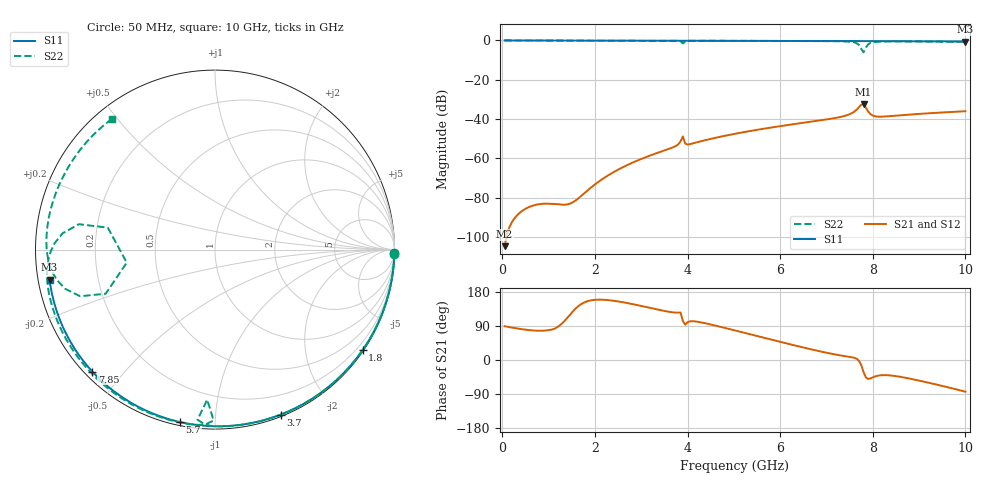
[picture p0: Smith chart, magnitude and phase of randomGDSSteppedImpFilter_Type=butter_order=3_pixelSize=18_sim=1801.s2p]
! freq	dB(S11)	phase(S11)	dB(S12)	phase(S12)
!  dB(S21)	phase(S21)	dB(S22)	phase(S22)
!S-par simulation data
#  GHz  S  DB  R 50
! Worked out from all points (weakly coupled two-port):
!   200 points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, 50 MHz to 10 GHz, reference 50 ohm
!   highest |S21| = -32.58 dB at 7.8 GHz (marker M1); lowest = -104.8 dB at 50 MHz (marker M2)
!   lowest |S11| = -0.6 dB at 10 GHz (marker M3), VSWR 30.62, Z = 1.65 - j4.48 ohm
!   |S11| at or under -10 dB: nowhere
!   |S22| runs from -6.1 to 0.0 dB; largest |S21 - S12| = 0
!   S11 on the Smith chart (normalised r, x): 50 MHz: open; 1.8 GHz: 0.03, -3.25; 3.7 GHz: 0.02, -1.47; 5.7 GHz: 0.02, -0.82; 7.85 GHz: 0.02, -0.41; 10 GHz: 0.03, -0.09
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0.05  -0.00 -1.0  -104.78 89.1  -104.78 89.1  -0.00 -1.3
1.65  -0.04 -31.4  -80.27 143.0  -80.27 143.0  -0.05 -41.3
1.75  -0.04 -33.3  -78.24 150.7  -78.24 150.7  -0.06 -43.7
1.8  -0.04 -34.2  -77.21 153.4  -77.21 153.4  -0.06 -44.9
2.5  -0.06 -47.1  -65.82 154.6  -65.82 154.6  -0.08 -61.6
3.4  -0.08 -63.1  -56.84 132.0  -56.84 132.0  -0.11 -82.5
3.7  -0.09 -68.3  -54.29 125.4  -54.29 125.4  -0.14 -89.9
3.9  -0.10 -71.7  -48.86 102.5  -48.86 102.5  -1.54 -93.0
3.95  -0.10 -72.6  -52.52 93.3  -52.52 93.3  -0.42 -90.5
4  -0.10 -73.4  -53.01 99.8  -53.01 99.8  -0.22 -93.1
5.05  -0.14 -91.0  -47.42 77.2  -47.42 77.2  -0.18 -117.7
5.7  -0.17 -101.5  -44.74 57.1  -44.74 57.1  -0.22 -131.6
6.7  -0.23 -117.2  -41.28 27.3  -41.28 27.3  -0.31 -153.6
7.55  -0.29 -130.5  -37.01 7.4  -37.01 7.4  -0.76 -179.2
7.7  -0.31 -132.8  -34.05 -1.8  -34.05 -1.8  -2.26 169.4
7.75  -0.31 -133.5  -32.75 -13.1  -32.75 -13.1  -4.30 168.4
7.8  -0.31 -134.3  -32.58 -31.4  -32.58 -31.4  -6.07 -171.6
7.85  -0.32 -135.1  -34.21 -45.8  -34.21 -45.8  -3.65 -158.0
8  -0.33 -137.5  -38.26 -45.8  -38.26 -45.8  -0.96 -168.9
8.35  -0.37 -142.9  -38.59 -40.4  -38.59 -40.4  -0.53 176.4
9.2  -0.46 -156.5  -37.10 -59.8  -37.10 -59.8  -0.55 152.4
10  -0.57 -169.7  -36.04 -83.6  -36.04 -83.6  -0.66 128.4
